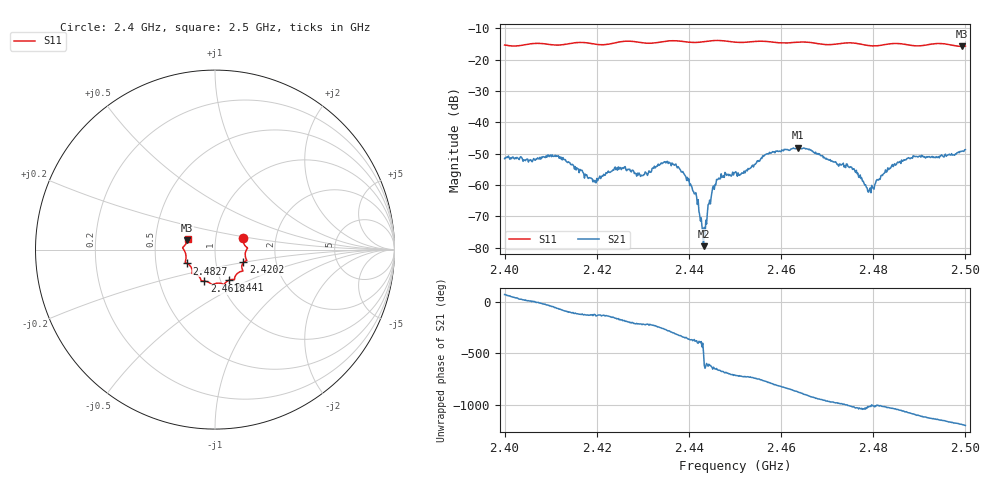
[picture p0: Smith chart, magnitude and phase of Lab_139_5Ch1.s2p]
# Hz S RI R 50
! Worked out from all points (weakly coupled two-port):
!   601 points, 2.4 GHz to 2.5 GHz, reference 50 ohm
!   highest |S21| = -48.13 dB at 2.4637 GHz (marker M1); lowest = -79.5 dB at 2.4432 GHz (marker M2)
!   lowest |S11| = -15.8 dB at 2.4993 GHz (marker M3), VSWR 1.39, Z = 36.5 + j3.83 ohm
!   |S11| at or under -10 dB: start of sweep to end of sweep
!   S12 and S22 are empty: the file has one direction only
!   S11 on the Smith chart (normalised r, x): 2.4 GHz: 1.36, +0.18; 2.4202 GHz: 1.36, -0.20; 2.441 GHz: 1.10, -0.39; 2.4618 GHz: 0.84, -0.30; 2.4827 GHz: 0.72, -0.12; 2.5 GHz: 0.73, +0.09
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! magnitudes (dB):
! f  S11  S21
! 2.4 GHz  -15.4  -51.6
! 2.4112 GHz  -15.4  -50.9
! 2.4167 GHz  -14.5  -55.2
! 2.4202 GHz  -15.2  -58.7
! 2.4242 GHz  -14.6  -55.1
! 2.4298 GHz  -14.6  -57.0
! 2.4333 GHz  -14.5  -53.3
! 2.4375 GHz  -14.1  -54.5
! 2.441 GHz  -14.6  -62.1
! 2.4432 GHz  -14.3  -79.5
! 2.4457 GHz  -13.9  -59.8
! 2.45 GHz  -14.5  -56.0
! 2.4618 GHz  -14.7  -48.9
! 2.4637 GHz  -14.4  -48.1
! 2.4667 GHz  -14.6  -49.1
! 2.4755 GHz  -14.7  -55.0
! 2.479 GHz  -15.5  -62.2
! 2.4827 GHz  -15.2  -55.2
! 2.4833 GHz  -15.0  -55.1
! 2.4888 GHz  -15.6  -50.9
! 2.4993 GHz  -15.8  -49.1
! 2.5 GHz  -15.7  -48.7
